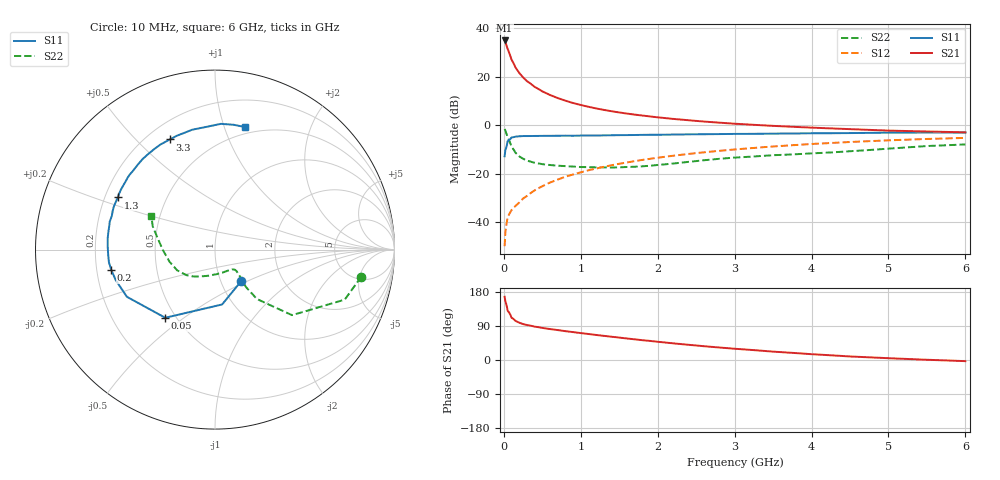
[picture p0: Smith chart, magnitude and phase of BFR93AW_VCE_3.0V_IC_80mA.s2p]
! Infineon Technologies  Discrete & RF Semiconductors
! BFR93AW
! VCE =  3.0 V,  IC =  80 mA
! Common Emitter S-Parameters:  Jan 2017
# GHz  S  MA  R  50
!  f  S11  S21  S12  S22
! GHz  MAG  ANG  MAG  ANG  MAG  ANG  MAG  ANG
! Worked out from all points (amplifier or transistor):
!   77 points, 10 MHz to 6 GHz, reference 50 ohm
!   highest |S21| = 34.9 dB at 10 MHz (marker M1)
!   |S21| within 3 dB of that: start of sweep to 44.24 MHz
!   unconditionally stable (mu >= 1): 178.8 MHz to 3.108 GHz
!   at 130 MHz: K = 0.85, MSG = 29.6 dB, |S12| = -34.0 dB
!   at 2.2 GHz: K = 1.07, MAG = 6.0 dB, |S12| = -12.6 dB
!   at 6 GHz: K = 0.98, MSG = 1.1 dB, |S12| = -5.3 dB
!   S11 on the Smith chart (normalised r, x): 10 MHz: 1.25, -0.46; 50 MHz: 0.44, -0.43; 200 MHz: 0.26, -0.09; 1.3 GHz: 0.25, +0.24; 3.3 GHz: 0.29, +0.63; 6 GHz: 0.44, +1.18
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0.01  0.2283 -50.3  55.67 166.8  0.0032 68.9  0.8291 -10.5
0.02  0.3083 -82.6  52.38 154.9  0.0062 73.0  0.7746 -21.1
0.05  0.4701 -126.1  37.08 129.9  0.0125 55.7  0.5634 -40.4
0.1  0.5568 -151.8  22.4 111.6  0.0177 56.9  0.3606 -49.7
0.15  0.5785 -162.8  15.62 103.4  0.0215 60.1  0.2721 -50.4
0.2  0.5892 -169.0  11.94 98.5  0.0254 64.0  0.2276 -48.8
0.25  0.5953 -173.3  9.665 94.8  0.0306 66.3  0.2029 -47.1
0.3  0.5956 -176.7  8.09 92.3  0.0347 69.0  0.1856 -46.0
0.4  0.5983 178.2  6.16 88.1  0.0452 71.0  0.1677 -44.9
0.5  0.6011 174.1  4.968 84.7  0.055 72.5  0.157 -45.5
0.6  0.6022 170.7  4.186 81.7  0.0656 73.2  0.1507 -47.1
0.7  0.6034 167.7  3.618 79.0  0.0754 73.8  0.1458 -49.3
0.9  0.6046 162.0  2.857 73.6  0.0962 73.2  0.14 -55.4
1.1  0.6127 156.7  2.39 68.6  0.1173 72.5  0.1361 -63.0
1.3  0.6145 151.8  2.061 63.7  0.1383 71.1  0.1348 -71.5
1.6  0.6236 145.1  1.732 56.8  0.1701 68.7  0.1372 -85.7
2.1  0.6358 134.5  1.396 46.1  0.2233 63.6  0.1559 -109.4
3.1  0.6602 115.8  1.048 28.3  0.3244 52.4  0.2187 -141.3
3.3  0.6632 112.3  1.005 25.3  0.3436 50.1  0.2286 -146.5
4.1  0.6803 99.4  0.876 14.2  0.4165 40.6  0.2661 -168.0
5.1  0.7012 86.1  0.765 3.9  0.4925 28.8  0.3358 166.3
6  0.7029 76.2  0.71 -3.0  0.5461 18.6  0.4002 152.3
